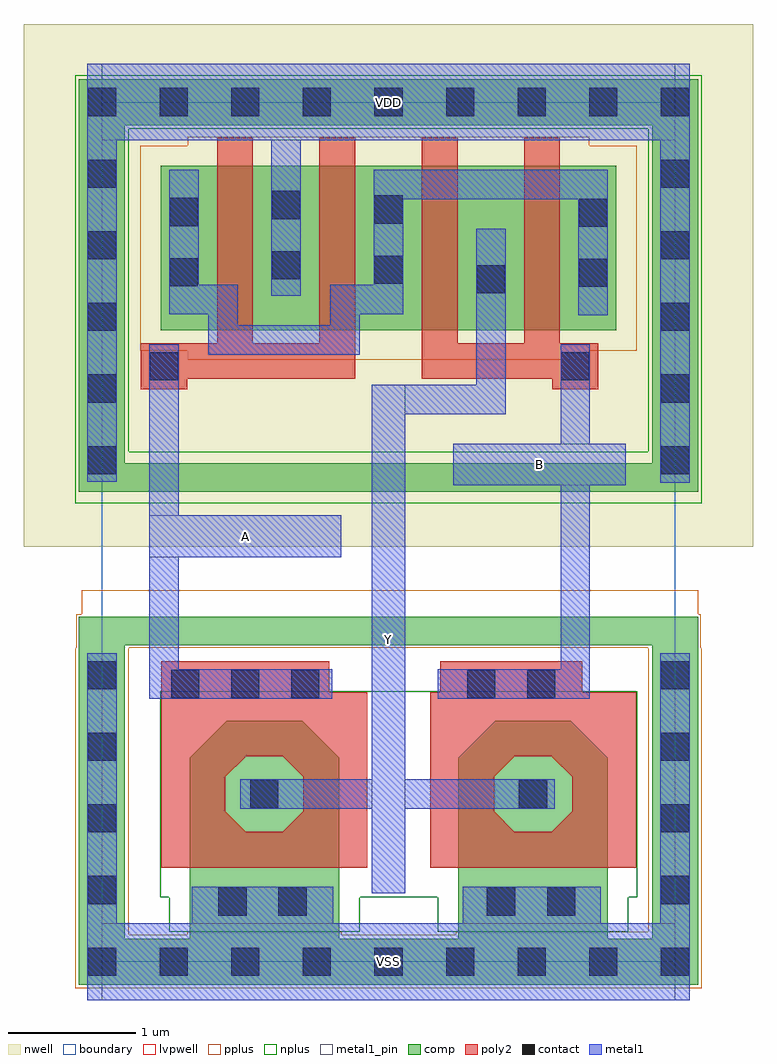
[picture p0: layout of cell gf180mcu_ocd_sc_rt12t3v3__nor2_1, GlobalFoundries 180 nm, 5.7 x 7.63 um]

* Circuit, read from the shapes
.subckt gf180mcu_ocd_sc_rt12t3v3__nor2_1 A B VDD VSS Y
XM1 Y A VSS VSS nfet_03v3 w=1.785u l=0.5433u
XM2 Y B VSS VSS nfet_03v3 w=1.785u l=0.5387u
XM3 VDD A n1 VDD pfet_03v3 w=1.285u l=0.28u m=2
XM4 Y B n1 VDD pfet_03v3 w=1.285u l=0.28u m=2
.ends

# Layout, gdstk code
import gdstk
lib = gdstk.Library(unit=1e-6, precision=1e-09)
def R(c, l, rs):  # rectangles x0, y0, x1, y1
    for r in rs: c.add(gdstk.rectangle(r[:2], r[2:], *l))
def A(c, l, x, y, w, h, nx, ny, dx, dy):  # array of equal rectangles
    R(c, l, [(x+i*dx, y+j*dy, x+i*dx+w, y+j*dy+h) for i in range(nx) for j in range(ny)])
def P(c, l, *ps):  # polygons
    for p in ps: c.add(gdstk.Polygon(p, *l))
boundary = (0, 0)
nwell = (21, 0)
comp = (22, 0)
poly2 = (30, 0)
pplus = (31, 0)
nplus = (32, 0)
contact = (33, 0)
metal1 = (34, 0)
metal1_pin = (34, 10)
lvpwell = (204, 0)

gf180mcu_ocd_sc_rt12t3v3 = lib.new_cell('gf180mcu_ocd_sc_rt12t3v3__nor2_1')
R(gf180mcu_ocd_sc_rt12t3v3, boundary, [(0,0,4.48,6.72)])
R(gf180mcu_ocd_sc_rt12t3v3, nwell, [(-0.61,3.245,5.09,7.33)])
R(gf180mcu_ocd_sc_rt12t3v3, comp, [(-0.18,-0.18,4.66,0.18), (-0.18,0.18,0.18,2.475), (0.685,0.18,1.855,1.595), (2.785,0.18,3.955,1.595), (4.3,0.18,4.66,2.475), (0.975,1.595,1.565,1.885), (3.075,1.595,3.665,1.885), (-0.18,2.475,4.66,2.695), (-0.18,3.675,4.66,3.895), (-0.18,3.895,0.18,6.54), (4.3,3.895,4.66,6.54), (0.46,4.935,4.02,6.22), (-0.18,6.54,4.66,6.9)])
P(gf180mcu_ocd_sc_rt12t3v3, comp, [(0.685,1.595),(0.975,1.595),(0.975,1.885)],
  [(1.565,1.885),(1.565,1.595),(1.855,1.595)],
  [(2.785,1.595),(3.075,1.595),(3.075,1.885)],
  [(3.665,1.885),(3.665,1.595),(3.955,1.595)])
A(gf180mcu_ocd_sc_rt12t3v3, poly2, 0.9, 4.835, 0.28, 1.605, 4, 1, 0.8, 0)
R(gf180mcu_ocd_sc_rt12t3v3, poly2, [(0.465,0.735,2.075,1.015), (2.565,0.735,4.175,1.015), (0.465,1.015,0.965,1.595), (1.575,1.015,2.075,1.595), (2.565,1.015,3.065,1.595), (3.675,1.015,4.175,1.595), (0.465,1.595,1.115,1.605), (1.425,1.595,2.075,1.605), (2.565,1.595,3.215,1.605), (3.525,1.595,4.175,1.605), (0.465,1.605,2.075,2.105), (2.565,1.605,4.175,2.105), (0.465,2.105,1.775,2.35), (2.645,2.105,3.755,2.35), (0.305,4.475,0.665,4.555), (3.52,4.475,3.88,4.555), (0.305,4.555,1.98,4.835), (2.5,4.555,3.88,4.835)])
P(gf180mcu_ocd_sc_rt12t3v3, poly2, [(1.115,1.595),(1.115,1.605),(1.125,1.605)],
  [(1.415,1.605),(1.425,1.605),(1.425,1.595)],
  [(0.965,1.445),(0.965,1.595),(1.115,1.595)],
  [(1.425,1.595),(1.575,1.595),(1.575,1.445)],
  [(0.965,1.175),(0.965,1.015),(1.125,1.015)],
  [(1.415,1.015),(1.575,1.015),(1.575,1.175)],
  [(3.215,1.595),(3.215,1.605),(3.225,1.605)],
  [(3.515,1.605),(3.525,1.605),(3.525,1.595)],
  [(3.065,1.445),(3.065,1.595),(3.215,1.595)],
  [(3.525,1.595),(3.675,1.595),(3.675,1.445)],
  [(3.065,1.175),(3.065,1.015),(3.225,1.015)],
  [(3.515,1.015),(3.675,1.015),(3.675,1.175)])
R(gf180mcu_ocd_sc_rt12t3v3, pplus, [(-0.21,-0.21,4.69,0.21), (-0.21,0.21,0.21,2.45), (0.665,0.21,1.875,0.235), (2.765,0.21,4.69,0.235), (4.27,0.235,4.69,2.45), (-0.2,2.45,0.21,2.455), (4.27,2.45,4.68,2.455), (-0.2,2.455,4.68,2.715), (-0.16,2.715,4.66,2.905), (0.67,4.705,3.81,4.775), (0.3,4.775,4.18,6.38), (0.67,6.38,3.81,6.45)])
R(gf180mcu_ocd_sc_rt12t3v3, nplus, [(0.525,0.235,2.015,0.505), (2.625,0.235,4.115,0.505), (0.455,0.505,4.185,2.115), (-0.21,3.585,4.69,3.985), (-0.21,3.985,0.21,6.51), (4.27,3.985,4.69,6.51), (-0.21,6.51,4.69,6.93)])
A(gf180mcu_ocd_sc_rt12t3v3, contact, -0.11, -0.11, 0.22, 0.22, 9, 2, 0.56, 6.72)
A(gf180mcu_ocd_sc_rt12t3v3, contact, -0.11, 0.45, 0.22, 0.22, 1, 4, 0, 0.56)
A(gf180mcu_ocd_sc_rt12t3v3, contact, 4.37, 0.45, 0.22, 0.22, 1, 4, 0, 0.56)
A(gf180mcu_ocd_sc_rt12t3v3, contact, 0.54, 2.06, 0.22, 0.22, 3, 1, 0.47, 0)
A(gf180mcu_ocd_sc_rt12t3v3, contact, -0.11, 3.81, 0.22, 0.22, 1, 5, 0, 0.56)
A(gf180mcu_ocd_sc_rt12t3v3, contact, 4.37, 3.81, 0.22, 0.22, 1, 5, 0, 0.56)
R(gf180mcu_ocd_sc_rt12t3v3, contact, [(0.91,0.36,1.13,0.58), (1.38,0.36,1.6,0.58), (3.01,0.36,3.23,0.58), (3.48,0.36,3.7,0.58), (1.16,1.2,1.38,1.42), (3.26,1.2,3.48,1.42), (2.855,2.06,3.075,2.28), (3.325,2.06,3.545,2.28), (0.375,4.545,0.595,4.765), (3.59,4.545,3.81,4.765), (2.93,5.225,3.15,5.445), (3.73,5.275,3.95,5.495), (0.53,5.28,0.75,5.5), (2.13,5.3,2.35,5.52), (1.33,5.335,1.55,5.555), (3.73,5.745,3.95,5.965), (0.53,5.75,0.75,5.97), (2.13,5.77,2.35,5.99), (1.33,5.805,1.55,6.025)])
R(gf180mcu_ocd_sc_rt12t3v3, metal1, [(-0.115,-0.3,4.595,0.3), (-0.115,0.3,0.115,2.41), (0.7,0.3,1.81,0.585), (2.82,0.3,3.9,0.585), (4.365,0.3,4.595,2.41), (2.11,0.535,2.37,1.195), (1.08,1.195,3.54,1.425), (2.11,1.425,2.37,4.28), (0.37,2.055,1.8,2.285), (2.625,2.055,3.815,2.285), (0.37,2.285,0.6,3.16), (3.585,2.285,3.815,3.725), (0.37,3.16,1.87,3.49), (0.37,3.49,0.6,4.825), (2.745,3.725,4.095,4.05), (4.365,3.745,4.595,6.42), (-0.115,3.75,0.115,6.42), (3.585,4.05,3.815,4.825), (2.11,4.28,3.155,4.51), (2.925,4.51,3.155,5.73), (0.83,4.745,2.015,4.975), (0.83,4.975,1.06,5.06), (1.785,4.975,2.015,5.06), (3.725,5.055,3.955,5.96), (0.525,5.06,1.06,5.29), (1.785,5.06,2.355,5.29), (1.325,5.205,1.555,6.42), (0.525,5.29,0.755,6.19), (2.125,5.29,2.355,5.96), (2.125,5.96,3.955,6.19), (-0.115,6.42,4.595,7.02)])
R(gf180mcu_ocd_sc_rt12t3v3, metal1_pin, [(0,-0.3,4.48,0.3), (2.11,0.535,2.37,4.51), (0.37,3.16,1.87,3.49), (2.745,3.725,4.095,4.05), (0,6.42,4.48,7.02)])
R(gf180mcu_ocd_sc_rt12t3v3, lvpwell, [(0,-0.3,4.48,-0.18), (-0.18,-0.18,4.66,2.695)])
gf180mcu_ocd_sc_rt12t3v3.add(gdstk.Label('A', (1.12,3.325), layer=34, texttype=10))
gf180mcu_ocd_sc_rt12t3v3.add(gdstk.Label('B', (3.42,3.887), layer=34, texttype=10))
gf180mcu_ocd_sc_rt12t3v3.add(gdstk.Label('Y', (2.24,2.522), layer=34, texttype=10))
gf180mcu_ocd_sc_rt12t3v3.add(gdstk.Label('VDD', (2.24,6.72), layer=34, texttype=10))
gf180mcu_ocd_sc_rt12t3v3.add(gdstk.Label('VSS', (2.24,0), layer=34, texttype=10))

lib.write_gds('gf180mcu_ocd_sc_rt12t3v3__nor2_1.gds')
